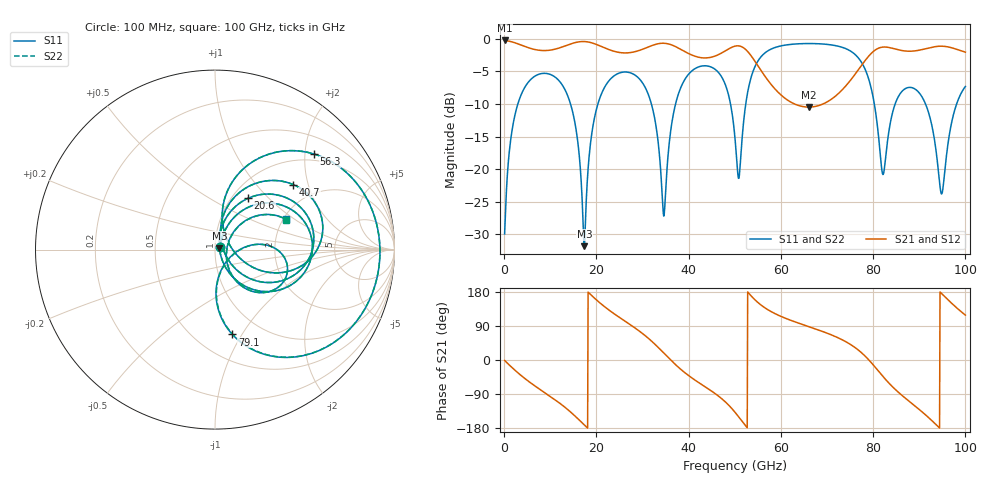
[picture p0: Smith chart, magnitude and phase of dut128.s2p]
! Touchstone file exported from HFSS 2026.1.0
!  File:  C:/ffzhzh/LocalFiles/Ansys_Project_Files/temp_train_TSV_RDL_128_1783639027_33328.aedt
!  Generated:  07:26:20 AM Jul 10, 2026
!  Design:  TSV_RDL
!  Project:  temp_train_TSV_RDL_128_1783639027_33328
! Variables:
!  h_bsmrdl = 2.89um
!  h_ox = 20um
!  h_rdl = 5um
!  h_sub = 54.43um
!  h_tmrdl = 2.22um
!  h_tsv = 54.43um
!  h_via = 3um
!  l_bsmrdl = 188.48um
!  l_sub = 3321.17um
!  l_tmrdl = 565.66um
!  m_sub = 200um
!  pitch = 40.95um
!  r_tsv = 11.47um
!  s_tmrdl = 10um
!  w_bsmrdl = 16.5um
!  w_sub = 500um
!  w_tmrdl = 14.53um
!  x_tsv_center1 = 572.925um
!  x_tsv_center2 = 777.905um
!  x_tsv_center3 = 1358.095um
!  x_tsv_center4 = 1563.075um
!  x_tsv_center5 = 2143.265um
!  x_tsv_center6 = 2348.245um
# GHz S MA R 50.000000
! Terminal data exported
! Port[1] = TM_RDL1_1_T1
! Port[2] = TM_RDL5_1_T1
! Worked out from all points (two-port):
!   1000 points, 100 MHz to 100 GHz, reference 50 ohm
!   highest |S21| = -0.26 dB at 100 MHz (marker M1); lowest = -10.5 dB at 66 GHz (marker M2)
!   |S21| within 3 dB of the highest: start of sweep to 54.19 GHz; 78.35 GHz to end of sweep
!   lowest |S11| = -31.8 dB at 17.4 GHz (marker M3), VSWR 1.05, Z = 52.5 + j0.765 ohm
!   |S11| at or under -10 dB: 14.39 GHz to 20.32 GHz (5.933 GHz wide, 34.2 % of centre); 31.93 GHz to 37.16 GHz (5.237 GHz wide, 15.2 % of centre); 91.36 GHz to 98.1 GHz (6.739 GHz wide, 7.11 % of centre) (the widest 3 of 6)
!   |S22| runs from -31.8 to -0.7 dB; largest |S21 - S12| = 1.3e-13
!   S11 on the Smith chart (normalised r, x): 100 MHz: 1.06, +0.03; 20.6 GHz: 1.18, +0.76; 40.7 GHz: 1.51, +1.61; 56.3 GHz: 0.85, +2.19; 79.1 GHz: 0.74, -0.91; 100 GHz: 2.07, +0.86
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0.1  0.03194 22.3  0.9706 -1.2  0.9706 -1.2  0.03194 22.3
! Gamma 0 0 0 0
! Port Impedance 50 0 50 0
2.5  0.275 54.2  0.9274 -28.7  0.9274 -28.7  0.275 54.2
7.6  0.5357 11.4  0.8162 -76.2  0.8162 -76.2  0.5357 11.4
14  0.3485 -41.8  0.902 -133.0  0.902 -133.0  0.3485 -41.8
16.8  0.07042 -55.5  0.9519 -164.4  0.9519 -164.4  0.07044 -55.5
17.4  0.02571 16.4  0.952 -171.5  0.952 -171.5  0.0256 16.3
20.6  0.3397 57.3  0.887 152.4  0.887 152.4  0.3396 57.3
27.1  0.5516 4.6  0.7816 95.2  0.7816 95.2  0.5515 4.6
33.4  0.1601 -43.2  0.9163 33.2  0.9163 33.2  0.1602 -43.0
34.7  0.0451 30.1  0.9237 17.3  0.9237 17.3  0.04558 30.0
40.7  0.5672 39.7  0.7502 -47.4  0.7502 -47.4  0.5672 39.7
50.1  0.1647 -21.5  0.8787 -138.6  0.8787 -138.6  0.1645 -21.6
56.3  0.7661 44.1  0.531 139.6  0.531 139.6  0.766 44.1
66  0.9193 -2.2  0.2995 88.2  0.2995 88.2  0.9192 -2.2
66.7  0.919 -4.9  0.3002 85.3  0.3002 85.3  0.9189 -4.8
79.1  0.4828 -78.4  0.7404 -0.3  0.7404 -0.3  0.4829 -78.1
82  0.09335 -50.7  0.8628 -41.6  0.8628 -41.6  0.09508 -50.3
83.4  0.194 6.8  0.8577 -60.7  0.8577 -60.7  0.1948 6.5
88.4  0.4219 -24.7  0.8035 -114.8  0.8035 -114.8  0.4221 -24.6
93.4  0.1593 -56.5  0.8698 -167.6  0.8698 -167.6  0.1598 -56.0
94.9  0.06481 -1.4  0.877 174.6  0.877 174.6  0.06623 -1.5
100  0.4308 23.0  0.7893 118.4  0.7893 118.4  0.431 22.9
